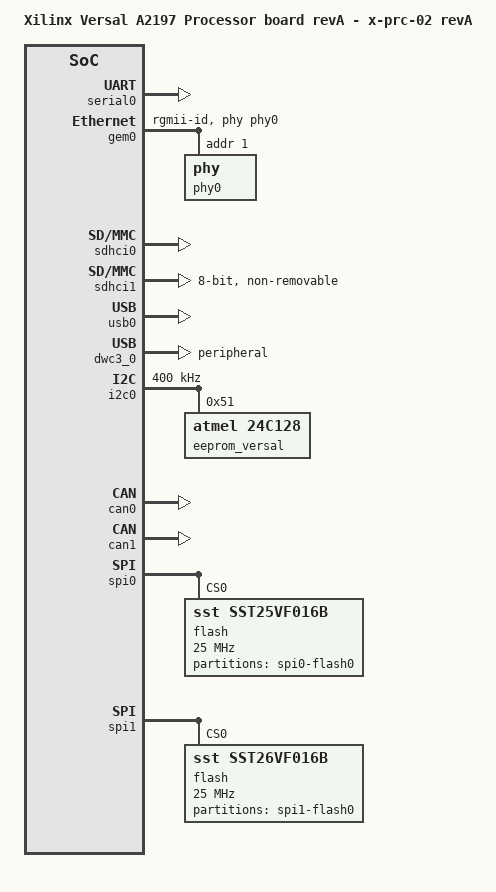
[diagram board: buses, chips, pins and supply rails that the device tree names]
// SPDX-License-Identifier: GPL-2.0
/*
 * dts file for Xilinx Versal X-PRC-02 revA (SE2)
 *
 * (C) Copyright 2019, Xilinx, Inc.
 *
 * Michal Simek <michal.simek@xilinx.com>
 */

#include "versal-vc-p-a2197-00-revA.dts"

/ {
	compatible = "xlnx,versal-vc-p-a2197-00-revA-x-prc-02-revA",
		     "xlnx,versal-vc-p-a2197-00-revA",
		     "xlnx,versal-vc-p-a2197-00",
		     "xlnx,versal-vc-p-a2197", "xlnx,versal";
	model = "Xilinx Versal A2197 Processor board revA - x-prc-02 revA";

	chosen {
		bootargs = "console=ttyAMA0 earlycon=pl011,mmio32,0xFF000000,115200n8 clk_ignore_unused";
		stdout-path = "serial0:115200";
	};

	aliases {
		serial0 = &serial0;
		ethernet0 = &gem0;
		i2c0 = &i2c1;
		mmc0 = &sdhci0;
		mmc1 = &sdhci1;
		spi0 = &spi0;
		spi1 = &spi1;
		usb0 = &usb0;
	};
};

&serial0 {
	status = "okay";
};

&gem0 {
	status = "okay";
	phy-handle = <&phy0>; /* u9 */
	phy-mode = "rgmii-id";
	phy0: phy@1 { /* Marvell 88E1512; U9 */
		reg = <1>;
	};
};

&sdhci0 {
	status = "okay";
	xlnx,mio-bank = <1>;
};

&sdhci1 { /* U1A */
	status = "okay";
	non-removable;
	disable-wp;
	bus-width = <8>;
	xlnx,mio-bank = <0>;
};

&usb0 {
	status = "okay";
	xlnx,usb-polarity = <0>;
	xlnx,usb-reset-mode = <0>;
};

&dwc3_0 { /* U4 */
	status = "okay";
	dr_mode = "peripheral";
	snps,dis_u2_susphy_quirk;
	snps,dis_u3_susphy_quirk;
	maximum-speed = "high-speed";
};

&i2c0 {
	status = "okay";
	clock-frequency = <400000>;
	/* U12 Catalyst EEPROM - AT24 should be equivalent */
	eeprom_versal: eeprom@51 {
		compatible = "atmel,24c128";
		reg = <0x51>;
	};

	/* FIXME - U13 and U15 */
};

&can0 {
	status = "okay";
};

&can1 {
	status = "okay";
};

&spi0 {
	status = "okay";
	num-cs = <1>;

	flash@0 { /* U18 */
		#address-cells = <1>;
		#size-cells = <1>;
		compatible = "sst,sst25vf016b", "m25p80", "jedec,spi-nor";
		spi-max-frequency = <25000000>;
		reg = <0>;

		partition@0 {
			label = "spi0-flash0";
			reg = <0x0 0x200000>;
		};
	};
};

&spi1 {
	status = "okay";
	num-cs = <3>;	/* FIXME - check SPI1_SS0-2_B */

	flash@0 { /* U19 */
		#address-cells = <1>;
		#size-cells = <1>;
		compatible = "sst,sst26vf016b", "m25p80", "jedec,spi-nor";
		spi-max-frequency = <25000000>;
		reg = <0>;

		partition@0 {
			label = "spi1-flash0";
			reg = <0x0 0x200000>;
		};
	};
};
